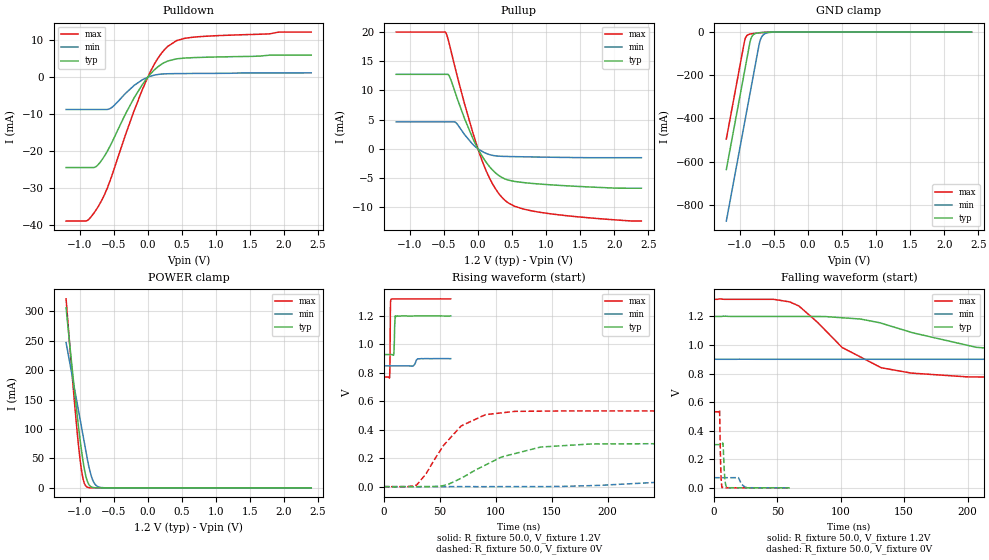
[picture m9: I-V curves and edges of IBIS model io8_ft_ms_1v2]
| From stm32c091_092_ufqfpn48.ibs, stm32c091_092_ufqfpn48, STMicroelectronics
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[Model]   io8_ft_ms_1v2
Model_type I/O
Polarity   Non-Inverting
Enable   Active-Low
| CAP_THRESHOLD on pad IOFT is "UDTCAPC" :
| Rising=30.0% of vddiom   Falling=70.0% of vddiom
| C_comp min and max val. don't necessarily correlate with the min and max pvt
| but are the smallest and greatest pad capacitance found.
| var   typ   min   max
C_comp   1.66120pF  1.65823pF  1.68961pF
|C_comp_pullup   922.22000fF  959.99000fF  949.71500fF
|C_comp_pulldown   738.97502fF  698.23501fF  739.89501fF
Vinl = 450.0mV
Vinh = 660.0mV
Vmeas = 600.0mV   | Reference voltage for timing measurements
Cref  = 50.0pF   | Timing specification test load capacitance value
Rref  = 1.0MOhm   | Timing specification test load resistance value
Vref  = 660.0mV   | Timing specification test load voltage
[Model Spec]
| TIME_THRESHOLD on pin ZIV12 is "CMOS" :
| Rising=50.0% of vdd   Falling=50.0% of vdd
Vinl 458.70000mV 361.70000mV 499.70000mV
Vinh 728.30000mV 549.30000mV 792.30000mV
| variable   typ   min   max
[Temperature Range] 25.0 125.0 -40.0
| variable   typ   min   max
[Voltage Range] 1.2V 900.0mV 1.32V
| variable   typ   min   max
[POWER Clamp Reference] 1.2V 900.0mV 1.32V
| variable   typ   min   max
[GND Clamp Reference] 0V 0V 0V
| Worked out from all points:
|   slope of the pulldown table from 0 to 0.18 V, typ, clamps not added: 55.6 ohm
|   slope of the pullup table from 0 to 0.18 V, typ, clamps not added: 56.3 ohm
|   GND clamp passes 1 mA (typ) near -0.61 V on its own axis
|   POWER clamp passes 1 mA (typ) near -0.81 V on its own axis
|   rising waveform, R_fixture 50.0, V_fixture 1.2V: 20-80 % time 549ps typ, 1.7ns min, 320ps max; typ from 0.928 V to 1.2 V
|   falling waveform, R_fixture 50.0, V_fixture 1.2V: 20-80 % time 73.9ns typ, 257ns min, 48.2ns max; typ from 1.2 V to 0.929 V
|   rising waveform, R_fixture 50.0, V_fixture 0V: 20-80 % time 52.4ns typ, 125ns min, 30.1ns max; typ from 0 V to 0.302 V
|   falling waveform, R_fixture 50.0, V_fixture 0V: 20-80 % time 1.15ns typ, 3.02ns min, 785ps max; typ from 0.302 V to 0 V
[POWER Clamp]
-1.2V     306.2mA    246.9mA    321.2mA
-1.09V    180mA      177.2mA    163.4mA
-1.05V    136.9mA    151.8mA    110.9mA
-1.01V    96.55mA    126.4mA    64.02mA
-960mV    52.29mA    94.73mA    20.68mA
-930mV    31.08mA    75.71mA    7.282mA
-900mV    15.67mA    56.69mA    2.025mA
-860mV    4.779mA    33.42mA    315.2uA
-810mV    823.2uA    13.62mA    29.21uA
-760mV    129.2uA    4.248mA    2.687uA
-690mV    9.442uA    651.7uA    95.02nA
2.4V      0A         0A         0A
[GND Clamp]
-1.2V     -636.9mA   -875.6mA   -495.8mA
-940mV    -194.9mA   -433.6mA   -53.78mA
-920mV    -160.9mA   -399.6mA   -28.06mA
-890mV    -109.9mA   -348.6mA   -14.28mA
-850mV    -43.09mA   -280.6mA   -9.18mA
-830mV    -23.96mA   -246.6mA   -8.001mA
-790mV    -9.264mA   -178.6mA   -6.254mA
-710mV    -3.12mA    -46.23mA   -3.486mA
-680mV    -2.303mA   -22.08mA   -2.625mA
-650mV    -1.674mA   -11.03mA   -1.876mA
-450mV    -34.83uA   -165.4uA   -17.32uA
2.4V      336.3pA    36.26nA    239.5pA
| variable   typ   min   max
[Pullup Reference] 1.2V 900.0mV 1.32V
| variable   typ   min   max
[Pulldown Reference] 0V 0V 0V
[Pullup]
-1.2V     12.75mA    4.603mA    19.99mA
-470mV    12.75mA    4.603mA    19.85mA
-420mV    12.43mA    4.603mA    17.93mA
-330mV    9.521mA    4.538mA    13.66mA
-80mV     1.904mA    796.1uA    2.965mA
40mV      -840.8uA   -307.6uA   -1.362mA
130mV     -2.46mA    -835.8uA   -4.016mA
230mV     -3.829mA   -1.167mA   -6.331mA
420mV     -5.274mA   -1.322mA   -9.06mA
670mV     -5.799mA   -1.382mA   -10.34mA
1.04V     -6.162mA   -1.451mA   -11.11mA
2.4V      -6.767mA   -1.538mA   -12.38mA
[Pulldown]
-1.2V     -24.47mA   -8.75mA    -38.94mA
-890mV    -24.47mA   -8.75mA    -38.83mA
-780mV    -24.4mA    -8.75mA    -36.48mA
-710mV    -23.27mA   -8.75mA    -34.44mA
-530mV    -17.77mA   -8.214mA   -26.77mA
-330mV    -10.03mA   -4.428mA   -15.71mA
-80mV     -2.009mA   -705.4uA   -3.396mA
110mV     2.198mA    601.6uA    3.95mA
290mV     4.348mA    923.6uA    8.288mA
420mV     4.961mA    964.2uA    9.88mA
670mV     5.29mA     1.001mA    10.83mA
2.4V      5.965mA    1.157mA    12.22mA
[Ramp]
dV/dt_r 181.32652mV/52.42202ns 42.43322mV/124.90819ns 319.02358mV/30.05285ns
dV/dt_f 162.83317mV/73.92647ns 30.60915mV/256.68699ns 329.79403mV/48.2483ns
R_load = 50.0
| Removed startup time: 0s 0s 0s  .
| Removed end time: 59.75ns.
[Rising Waveform]
R_fixture   = 50.0
V_fixture   = 1.2V
V_fixture_min = 900.0mV
V_fixture_max = 1.32V
0s        928.4mV    849mV      770.7mV
5.1ns     928.5mV    849mV      769.3mV
5.4ns     928.5mV    849mV      877mV
5.8ns     928.5mV    849mV      1.262V
5.95ns    928.5mV    849mV      1.307V
6.5ns     928.5mV    849mV      1.317V
8.9ns     939.3mV    849mV      1.32V
9.65ns    1.142V     849mV      1.32V
10.05ns   1.199V     849mV      1.32V
59.75ns   1.2V       899.6mV    1.32V
| Removed startup time: 0s 0s 0s  .
| Removed end time: 5.998us.
[Falling Waveform]
R_fixture   = 50.0
V_fixture   = 1.2V
V_fixture_min = 900.0mV
V_fixture_max = 1.32V
0s        1.2V       900mV      1.32V
60ns      1.2V       900mV      1.301V
67ns      1.2V       900mV      1.273V
101ns     1.191V     900mV      983mV
132ns     1.152V     900mV      840.7mV
200ns     997.8mV    900mV      776.8mV
270ns     942.5mV    899.9mV    771.1mV
477ns     928.1mV    889.6mV    771mV
877ns     928.5mV    850.9mV    770.7mV
5.998us   928.6mV    849mV      770.3mV
| Removed startup time: 0s 0s 0s  .
| Removed end time: 5.998us.
[Rising Waveform]
R_fixture   = 50.0
V_fixture   = 0V
V_fixture_min = 0V
V_fixture_max = 0V
0s        58.14nV    92.61nV    -3.932uV
29ns      -65.69uV   -1.033mV   9.691mV
53ns      6.936mV    -39.25uV   286.6mV
69ns      58.93mV    15.78uV    426.2mV
91ns      152.8mV    -21.41uV   506.3mV
118ns     234.1mV    100.1uV    529.2mV
185ns     299.8mV    7.167mV    532.2mV
270ns     302.6mV    38.93mV    531.8mV
463ns     302.1mV    70.33mV    532.2mV
5.998us   302.2mV    70.72mV    531.7mV
| Removed startup time: 0s 0s 0s  .
| Removed end time: 59.75ns.
[Falling Waveform]
R_fixture   = 50.0
V_fixture   = 0V
V_fixture_min = 0V
V_fixture_max = 0V
0s        302.1mV    70.7mV     532mV
4.3ns     302.1mV    70.7mV     541.1mV
5.25ns    302.1mV    70.7mV     143.6mV
6.2ns     301.4mV    70.7mV     1.09mV
7.05ns    307.1mV    70.7mV     2.27mV
8.45ns    71.3mV     70.7mV     701.6uV
9.9ns     947.7uV    70.7mV     -126.4uV
19.15ns   165uV      71.59mV    -88.79uV
24.75ns   24.33uV    4.211mV    229.7uV
59.75ns   -232.8uV   74.66uV    311.4uV
